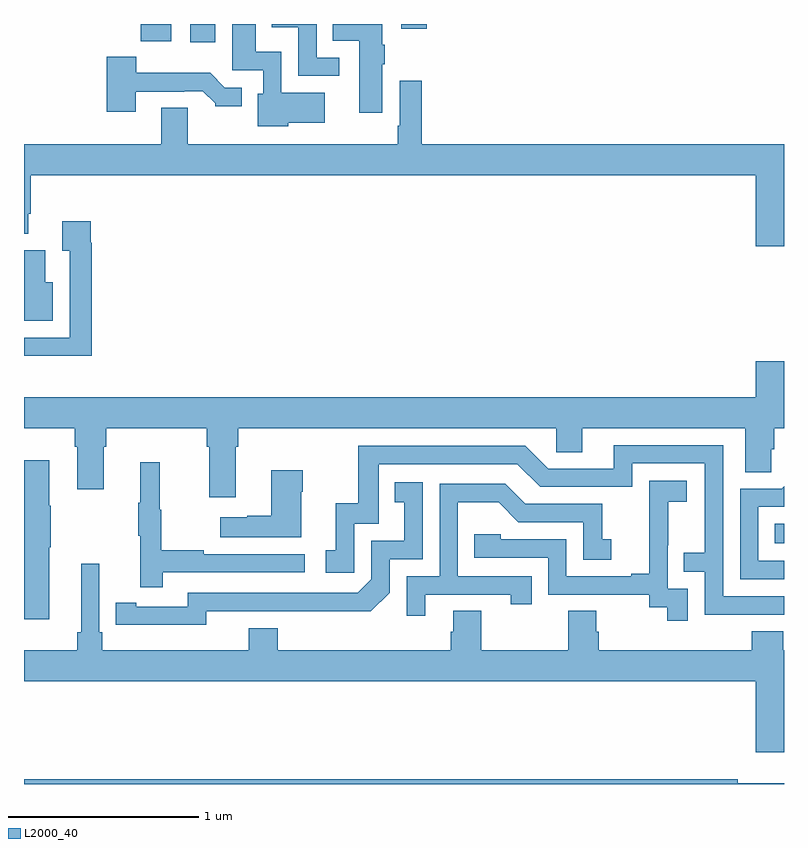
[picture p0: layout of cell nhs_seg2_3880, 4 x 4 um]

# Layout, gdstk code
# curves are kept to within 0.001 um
import gdstk
lib = gdstk.Library(unit=1e-6, precision=1e-09)
def R(c, l, rs):  # rectangles x0, y0, x1, y1
    for r in rs: c.add(gdstk.rectangle(r[:2], r[2:], *l))
def P(c, l, *ps):  # polygons
    for p in ps: c.add(gdstk.Polygon(p, *l))
L2000_40 = (2000, 40)

nhs_seg2_3880 = lib.new_cell('nhs_seg2_3880')
R(nhs_seg2_3880, L2000_40, [(320.95,611.066,321,611.17), (317.876,613.704,318.007,613.8), (317.614,613.709,317.776,613.8), (318.986,613.776,319.121,613.8)])
P(nhs_seg2_3880, L2000_40, [(318.658,613.623),(318.54,613.623),(318.54,613.8),(318.305,613.8),(318.305,613.784),(318.444,613.784),(318.444,613.527),(318.658,613.527)],
  [(318.39,613.28),(318.583,613.28),(318.583,613.438),(318.354,613.438),(318.354,613.654),(318.22,613.654),(318.22,613.8),(318.095,613.8),(318.095,613.557),(318.258,613.557),(318.258,613.434),(318.23,613.434),(318.23,613.262),(318.39,613.262)],
  [(318.886,613.588),(318.899,613.588),(318.899,613.691),(318.886,613.691),(318.886,613.798),(318.884,613.8),(318.625,613.8),(318.625,613.712),(318.764,613.712),(318.764,613.332),(318.886,613.332)],
  [(317.587,613.443),(317.843,613.443),(317.843,613.446),(317.942,613.446),(318.006,613.382),(318.006,613.367),(318.145,613.367),(318.145,613.464),(318.057,613.464),(317.979,613.543),(317.59,613.543),(317.59,613.627),(317.435,613.627),(317.435,613.338),(317.587,613.338)],
  [(321,613.168),(319.094,613.168),(319.094,613.501),(318.978,613.501),(318.978,613.264),(318.966,613.264),(318.966,613.168),(317.863,613.168),(317.863,613.358),(317.723,613.358),(317.723,613.168),(317,613.168),(317,612.695),(317.023,612.695),(317.023,612.802),(317.036,612.802),(317.036,613.004),(320.852,613.004),(320.852,612.63),(321,612.63)],
  [(317.357,612.65),(317.35,612.65),(317.35,612.763),(317.201,612.763),(317.201,612.607),(317.241,612.607),(317.241,612.15),(317,612.15),(317,612.054),(317.065,612.054),(317.065,612.053),(317.357,612.053)],
  [(317.152,612.442),(317.113,612.442),(317.113,612.61),(317,612.61),(317,612.239),(317.152,612.239)],
  [(318.115,611.576),(318.128,611.576),(318.128,611.672),(319.8,611.672),(319.8,611.545),(319.939,611.545),(319.939,611.672),(320.795,611.672),(320.795,611.44),(320.934,611.44),(320.934,611.563),(320.948,611.563),(320.948,611.672),(321,611.672),(321,612.025),(320.852,612.025),(320.852,611.836),(317,611.836),(317,611.672),(317.267,611.672),(317.267,611.576),(317.279,611.576),(317.279,611.352),(317.419,611.352),(317.419,611.576),(317.432,611.576),(317.432,611.672),(317.963,611.672),(317.963,611.576),(317.975,611.576),(317.975,611.31),(318.115,611.31)],
  [(321,610.788),(320.679,610.788),(320.679,611.583),(320.105,611.583),(320.105,611.46),(319.758,611.46),(319.638,611.58),(318.759,611.58),(318.759,611.278),(318.641,611.278),(318.641,611.031),(318.588,611.031),(318.588,610.911),(318.738,610.911),(318.738,611.169),(318.867,611.169),(318.867,611.484),(319.596,611.484),(319.716,611.364),(320.202,611.364),(320.202,611.487),(320.583,611.487),(320.583,611.018),(320.473,611.018),(320.473,610.917),(320.583,610.917),(320.583,610.692),(321,610.692)],
  [(317.134,611.047),(317.142,611.047),(317.142,611.264),(317.134,611.264),(317.134,611.503),(317,611.503),(317,610.668),(317.134,610.668)],
  [(317.729,610.914),(318.478,610.914),(318.478,611.01),(317.945,611.01),(317.945,611.03),(317.722,611.03),(317.722,611.244),(317.714,611.244),(317.714,611.494),(317.612,611.494),(317.612,611.281),(317.601,611.281),(317.601,611.107),(317.612,611.107),(317.612,610.836),(317.729,610.836)],
  [(318.46,611.339),(318.468,611.339),(318.468,611.452),(318.302,611.452),(318.302,611.213),(318.176,611.213),(318.176,611.203),(318.033,611.203),(318.033,611.099),(318.46,611.099)],
  [(320.493,610.827),(320.388,610.827),(320.388,611.057),(320.39,611.057),(320.39,611.285),(320.488,611.285),(320.488,611.395),(320.29,611.395),(320.29,611.189),(320.291,611.189),(320.291,610.906),(320.195,610.906),(320.195,610.893),(319.854,610.893),(319.854,611.088),(319.509,611.088),(319.509,611.115),(319.369,611.115),(319.369,610.992),(319.758,610.992),(319.758,610.797),(320.292,610.797),(320.292,610.729),(320.385,610.729),(320.385,610.659),(320.493,610.659)],
  [(317.958,610.71),(318.826,610.709),(318.924,610.806),(318.924,610.983),(319.098,610.983),(319.098,611.389),(318.952,611.389),(318.952,611.283),(319.001,611.283),(319.001,611.079),(318.828,611.079),(318.828,610.878),(318.756,610.806),(317.862,610.806),(317.862,610.734),(317.59,610.734),(317.59,610.754),(317.482,610.754),(317.482,610.638),(317.958,610.637)],
  [(319.111,610.797),(319.562,610.797),(319.562,610.746),(319.673,610.746),(319.673,610.893),(319.284,610.893),(319.284,611.282),(319.498,611.282),(319.602,611.178),(319.944,611.178),(319.944,610.98),(320.092,610.98),(320.092,611.089),(320.043,611.089),(320.043,611.274),(319.639,611.274),(319.534,611.379),(319.188,611.379),(319.188,610.893),(319.014,610.893),(319.014,610.686),(319.111,610.686)],
  [(321,610.974),(320.865,610.974),(320.865,611.259),(321,611.259),(321,611.367),(320.988,611.355),(320.769,611.355),(320.769,610.878),(321,610.878)],
  [(320.852,609.966),(321,609.966),(321,610.504),(320.996,610.504),(320.996,610.603),(320.831,610.603),(320.831,610.504),(320.024,610.504),(320.024,610.602),(320.011,610.602),(320.011,610.712),(319.864,610.712),(319.864,610.504),(319.407,610.504),(319.407,610.712),(319.259,610.712),(319.259,610.602),(319.247,610.602),(319.247,610.504),(318.335,610.504),(318.335,610.621),(318.182,610.621),(318.182,610.504),(317.411,610.504),(317.411,610.6),(317.397,610.6),(317.397,610.96),(317.3,610.96),(317.3,610.6),(317.281,610.6),(317.281,610.504),(317,610.504),(317,610.34),(320.852,610.34)],
  [(321,609.805),(320.756,609.805),(320.756,609.824),(317,609.824),(317,609.8),(321,609.8)])

lib.write_gds('nhs_seg2_3880.gds')
